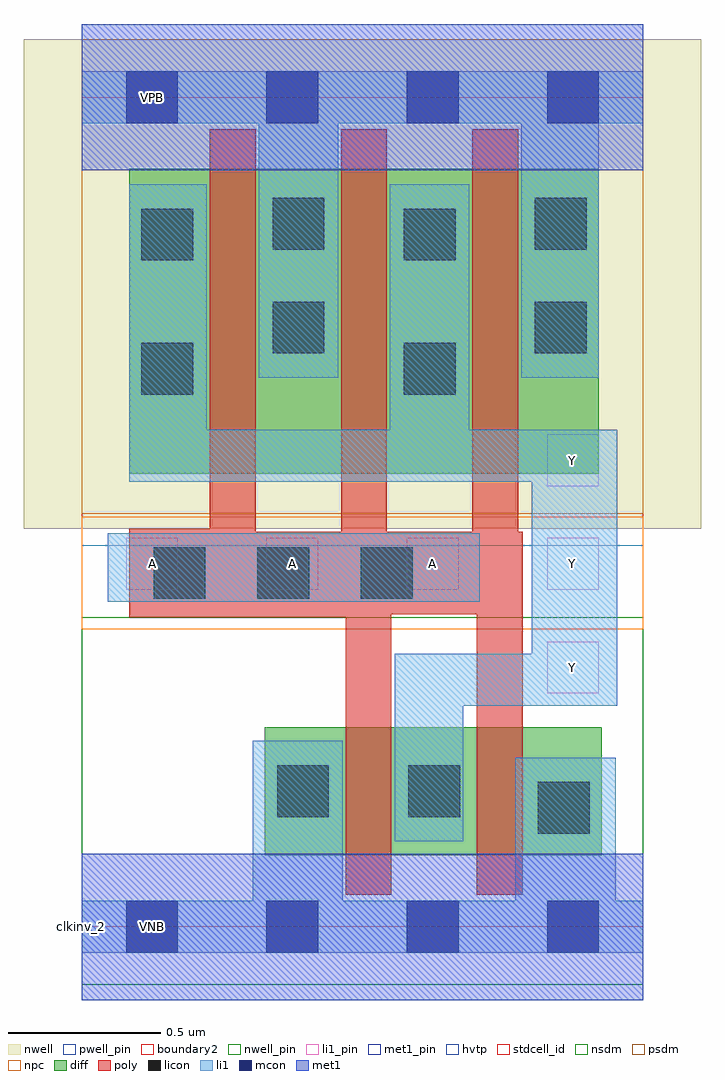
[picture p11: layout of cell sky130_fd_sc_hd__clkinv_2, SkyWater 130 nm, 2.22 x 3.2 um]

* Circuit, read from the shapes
.subckt sky130_fd_sc_hd__clkinv_2 A VGND VNB VPB VPWR Y
XM1 Y A VGND VNB sky130_fd_pr__nfet_01v8 w=0.42 l=0.15 m=2
XM2 VPWR A Y VPB sky130_fd_pr__pfet_01v8_hvt w=1 l=0.15 m=3
.ends

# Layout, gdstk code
import gdstk
lib = gdstk.Library(unit=1e-6, precision=1e-09)
def R(c, l, rs):  # rectangles x0, y0, x1, y1
    for r in rs: c.add(gdstk.rectangle(r[:2], r[2:], *l))
def A(c, l, x, y, w, h, nx, ny, dx, dy):  # array of equal rectangles
    R(c, l, [(x+i*dx, y+j*dy, x+i*dx+w, y+j*dy+h) for i in range(nx) for j in range(ny)])
def P(c, l, *ps):  # polygons
    for p in ps: c.add(gdstk.Polygon(p, *l))
nwell_pin = (64, 16)
nwell = (64, 20)
diff = (65, 20)
poly = (66, 20)
licon = (66, 44)
li1_pin = (67, 16)
li1 = (67, 20)
mcon = (67, 44)
met1_pin = (68, 16)
met1 = (68, 20)
hvtp = (78, 44)
stdcell_id = (81, 4)
nsdm = (93, 44)
psdm = (94, 20)
npc = (95, 20)
pwell_pin = (122, 16)
boundary2 = (236, 0)

sky130_fd_sc_hd__clkinv_ = lib.new_cell('sky130_fd_sc_hd__clkinv_2')
R(sky130_fd_sc_hd__clkinv_, nwell_pin, [(0.145,2.635,0.315,2.805)])
R(sky130_fd_sc_hd__clkinv_, nwell, [(-0.19,1.305,2.03,2.91)])
R(sky130_fd_sc_hd__clkinv_, diff, [(0.6,0.235,1.705,0.655), (0.155,1.485,1.695,2.485)])
R(sky130_fd_sc_hd__clkinv_, poly, [(0.155,1.015,0.865,1.025), (0.155,1.295,0.42,1.305)])
P(sky130_fd_sc_hd__clkinv_, poly, [(1.445,1.295),(1.43,1.295),(1.43,2.615),(1.28,2.615),(1.28,1.295),(1,1.295),(1,2.615),(0.85,2.615),(0.85,1.295),(0.57,1.295),(0.57,2.615),(0.42,2.615),(0.42,1.295),(0.155,1.295),(0.155,1.025),(0.865,1.025),(0.865,0.105),(1.015,0.105),(1.015,1.025),(1.295,1.025),(1.295,0.105),(1.445,0.105)])
A(sky130_fd_sc_hd__clkinv_, licon, 0.235, 1.075, 0.17, 0.17, 3, 1, 0.34, 0)
R(sky130_fd_sc_hd__clkinv_, licon, [(1.495,0.305,1.665,0.475), (0.64,0.36,0.81,0.53), (1.07,0.36,1.24,0.53), (0.195,1.745,0.365,1.915), (1.055,1.745,1.225,1.915), (0.625,1.88,0.795,2.05), (1.485,1.88,1.655,2.05), (0.195,2.185,0.365,2.355), (1.055,2.185,1.225,2.355), (0.625,2.22,0.795,2.39), (1.485,2.22,1.655,2.39)])
A(sky130_fd_sc_hd__clkinv_, li1_pin, 0.145, 1.105, 0.17, 0.17, 4, 1, 0.46, 0)
R(sky130_fd_sc_hd__clkinv_, li1_pin, [(1.525,0.765,1.695,0.935), (1.525,1.445,1.695,1.615)])
R(sky130_fd_sc_hd__clkinv_, li1, [(0.085,1.065,1.305,1.29)])
P(sky130_fd_sc_hd__clkinv_, li1, [(1.755,1.63),(1.27,1.63),(1.27,2.435),(1.01,2.435),(1.01,1.63),(0.41,1.63),(0.41,2.435),(0.155,2.435),(0.155,1.46),(1.475,1.46),(1.475,0.895),(1.025,0.895),(1.025,0.28),(1.25,0.28),(1.25,0.725),(1.755,0.725)],
  [(1.84,0.085),(1.75,0.085),(1.75,0.555),(1.42,0.555),(1.42,0.085),(0.855,0.085),(0.855,0.61),(0.56,0.61),(0.56,0.085),(0,0.085),(0,-0.085),(1.84,-0.085)],
  [(1.84,2.805),(0,2.805),(0,2.635),(0.58,2.635),(0.58,1.8),(0.84,1.8),(0.84,2.635),(1.44,2.635),(1.44,1.8),(1.695,1.8),(1.695,2.635),(1.84,2.635)])
A(sky130_fd_sc_hd__clkinv_, mcon, 0.145, -0.085, 0.17, 0.17, 4, 2, 0.46, 2.72)
R(sky130_fd_sc_hd__clkinv_, met1_pin, [(0.145,-0.085,0.315,0.085), (0.145,2.635,0.315,2.805)])
R(sky130_fd_sc_hd__clkinv_, hvtp, [(0,1.25,1.84,2.72)])
R(sky130_fd_sc_hd__clkinv_, stdcell_id, [(0,0,1.84,2.72)])
R(sky130_fd_sc_hd__clkinv_, nsdm, [(0,-0.19,1.84,1.015)])
R(sky130_fd_sc_hd__clkinv_, psdm, [(0,1.355,1.84,2.91)])
R(sky130_fd_sc_hd__clkinv_, npc, [(0,0.975,1.84,1.345)])
R(sky130_fd_sc_hd__clkinv_, pwell_pin, [(0.145,-0.085,0.315,0.085)])
R(sky130_fd_sc_hd__clkinv_, boundary2, [(0,0,1.84,2.72)])
sky130_fd_sc_hd__clkinv_.add(gdstk.FlexPath([(0,2.72),(1.84,2.72)], 0.48, ends="flush", simple_path=True, layer=68, datatype=20))  # met1
sky130_fd_sc_hd__clkinv_.add(gdstk.FlexPath([(0,0),(1.84,0)], 0.48, ends="flush", simple_path=True, layer=68, datatype=20))  # met1
sky130_fd_sc_hd__clkinv_.add(gdstk.Label('Y', (1.61,0.85), layer=67, texttype=5))
sky130_fd_sc_hd__clkinv_.add(gdstk.Label('Y', (1.61,1.19), layer=67, texttype=5))
sky130_fd_sc_hd__clkinv_.add(gdstk.Label('Y', (1.61,1.53), layer=67, texttype=5))
sky130_fd_sc_hd__clkinv_.add(gdstk.Label('A', (1.15,1.19), layer=67, texttype=5))
sky130_fd_sc_hd__clkinv_.add(gdstk.Label('A', (0.69,1.19), layer=67, texttype=5))
sky130_fd_sc_hd__clkinv_.add(gdstk.Label('A', (0.23,1.19), layer=67, texttype=5))
sky130_fd_sc_hd__clkinv_.add(gdstk.Label('VNB', (0.23,0), layer=64, texttype=59))
sky130_fd_sc_hd__clkinv_.add(gdstk.Label('VPB', (0.23,2.72), layer=64, texttype=5))
sky130_fd_sc_hd__clkinv_.add(gdstk.Label('VPWR', (0.23,2.72), layer=68, texttype=5))
sky130_fd_sc_hd__clkinv_.add(gdstk.Label('VGND', (0.23,0), layer=68, texttype=5))
sky130_fd_sc_hd__clkinv_.add(gdstk.Label('clkinv_2', (0,0), layer=83, texttype=44))

lib.write_gds('sky130_fd_sc_hd__clkinv_2.gds')
